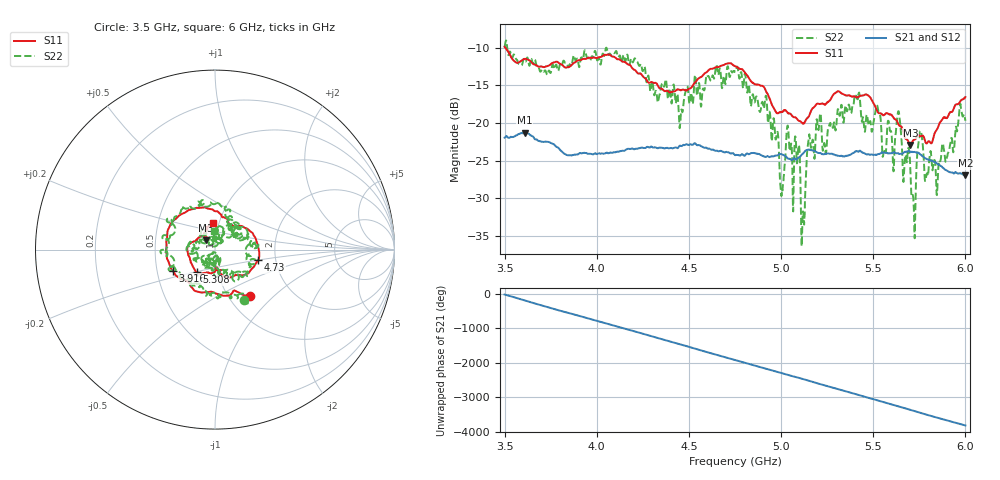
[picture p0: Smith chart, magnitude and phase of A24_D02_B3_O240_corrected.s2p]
! Created with skrf 1.9.0 (http://scikit-rf.org).
# Hz S RI R 50.0
!freq ReS11 ImS11 ReS21 ImS21 ReS12 ImS12 ReS22 ImS22
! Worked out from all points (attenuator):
!   1601 points, 3.5 GHz to 6 GHz, reference 50 ohm
!   highest |S21| = -21.29 dB at 3.609 GHz (marker M1); lowest = -26.9 dB at 6 GHz (marker M2)
!   lowest |S11| = -22.9 dB at 5.702 GHz (marker M3), VSWR 1.15, Z = 45 + j4.69 ohm
!   |S11| at or under -10 dB: 3.504 GHz to end of sweep
!   |S22| runs from -36.3 to -9.0 dB; largest |S21 - S12| = 0.00098
!   S11 on the Smith chart (normalised r, x): 3.5 GHz: 1.25, -0.71; 3.916 GHz: 0.61, -0.16; 4.73 GHz: 1.62, -0.20; 5.308 GHz: 0.79, -0.21; 6 GHz: 0.94, +0.29
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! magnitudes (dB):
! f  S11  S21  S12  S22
! 3.5 GHz  -9.9  -21.9  -21.9  -9.9
! 3.609 GHz  -11.5  -21.3  -21.3  -11.7
! 3.916 GHz  -11.6  -24.0  -24.0  -11.3
! 3.917 GHz  -11.6  -24.0  -24.0  -11.3
! 4.334 GHz  -15.2  -23.3  -23.2  -17.0
! 4.73 GHz  -12.1  -24.0  -23.9  -13.1
! 4.75 GHz  -12.5  -24.2  -24.2  -13.2
! 4.912 GHz  -15.4  -24.5  -24.4  -17.0
! 5.005 GHz  -18.5  -24.1  -24.1  -29.0
! 5.034 GHz  -18.6  -24.7  -24.6  -20.4
! 5.088 GHz  -19.5  -24.7  -24.7  -25.3
! 5.119 GHz  -20.0  -24.0  -24.0  -31.7
! 5.145 GHz  -19.3  -23.5  -23.5  -22.9
! 5.167 GHz  -18.1  -23.6  -23.6  -22.7
! 5.308 GHz  -15.8  -24.3  -24.2  -18.1
! 5.584 GHz  -18.8  -24.0  -24.0  -19.8
! 5.639 GHz  -20.3  -24.0  -24.0  -18.5
! 5.702 GHz  -22.9  -23.8  -23.8  -26.4
! 5.719 GHz  -22.2  -23.8  -23.8  -30.6
! 5.755 GHz  -21.8  -24.1  -24.1  -21.0
! 5.85 GHz  -20.6  -25.4  -25.4  -27.4
! 6 GHz  -16.5  -26.9  -26.9  -19.7
